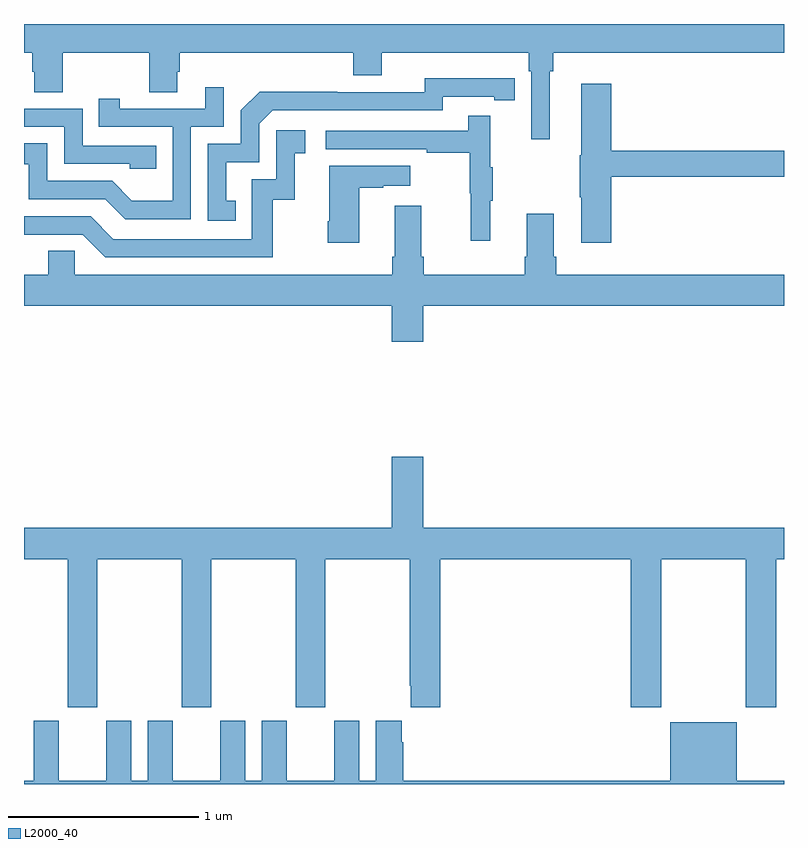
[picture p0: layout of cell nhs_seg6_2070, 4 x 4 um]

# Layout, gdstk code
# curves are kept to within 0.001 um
import gdstk
lib = gdstk.Library(unit=1e-6, precision=1e-09)
def P(c, l, *ps):  # polygons
    for p in ps: c.add(gdstk.Polygon(p, *l))
L2000_40 = (2000, 40)

nhs_seg6_2070 = lib.new_cell('nhs_seg6_2070')
P(nhs_seg6_2070, L2000_40, [(237.766,935.252),(237.785,935.252),(237.785,935.348),(239,935.348),(239,935.5),(235,935.5),(235,935.348),(235.043,935.348),(235.043,935.25),(235.055,935.25),(235.055,935.14),(235.203,935.14),(235.203,935.348),(235.66,935.348),(235.66,935.14),(235.807,935.14),(235.807,935.25),(235.82,935.25),(235.82,935.348),(236.732,935.348),(236.732,935.231),(236.884,935.231),(236.884,935.348),(237.656,935.348),(237.656,935.252),(237.669,935.252),(237.669,934.893),(237.766,934.893)],
  [(236.114,934.569),(236.065,934.569),(236.065,934.773),(236.238,934.773),(236.238,934.974),(236.31,935.046),(237.204,935.046),(237.204,935.118),(237.476,935.118),(237.476,935.098),(237.584,935.098),(237.584,935.214),(237.108,935.215),(237.108,935.142),(236.648,935.142),(236.648,935.144),(236.24,935.144),(236.142,935.046),(236.142,934.869),(235.968,934.869),(235.968,934.464),(236.114,934.464)],
  [(238.091,934.696),(239,934.696),(239,934.832),(238.091,934.832),(238.091,935.185),(237.932,935.185),(237.932,934.809),(237.925,934.809),(237.925,934.588),(237.932,934.588),(237.932,934.35),(238.091,934.35)],
  [(235.878,934.959),(236.052,934.959),(236.052,935.167),(235.955,935.167),(235.955,935.055),(235.504,935.055),(235.504,935.107),(235.393,935.107),(235.393,934.959),(235.782,934.959),(235.782,934.57),(235.568,934.57),(235.464,934.674),(235.122,934.674),(235.122,934.873),(235,934.873),(235,934.763),(235.024,934.763),(235.024,934.578),(235.427,934.578),(235.532,934.473),(235.878,934.473)],
  [(235.697,934.86),(235.308,934.86),(235.308,935.055),(235,935.055),(235,934.959),(235.212,934.959),(235.212,934.764),(235.557,934.764),(235.557,934.737),(235.697,934.737)],
  [(237.455,934.571),(237.466,934.571),(237.466,934.745),(237.455,934.745),(237.455,935.017),(237.337,935.017),(237.337,934.938),(236.589,934.938),(236.589,934.842),(237.121,934.842),(237.121,934.822),(237.345,934.822),(237.345,934.608),(237.352,934.608),(237.352,934.359),(237.455,934.359)],
  [(236.308,934.575),(236.426,934.575),(236.426,934.821),(236.479,934.821),(236.479,934.942),(236.328,934.942),(236.328,934.683),(236.199,934.683),(236.199,934.368),(235.47,934.368),(235.35,934.488),(235,934.488),(235,934.392),(235.308,934.392),(235.428,934.272),(236.308,934.272)],
  [(236.764,934.639),(236.891,934.639),(236.891,934.649),(237.034,934.649),(237.034,934.753),(236.606,934.753),(236.606,934.462),(236.599,934.462),(236.599,934.35),(236.764,934.35)],
  [(237.1,934.016),(239,934.016),(239,934.18),(237.8,934.18),(237.8,934.276),(237.787,934.276),(237.787,934.501),(237.647,934.501),(237.647,934.276),(237.635,934.276),(237.635,934.18),(237.104,934.18),(237.104,934.276),(237.091,934.276),(237.091,934.543),(236.951,934.543),(236.951,934.276),(236.939,934.276),(236.939,934.18),(235.266,934.18),(235.266,934.307),(235.127,934.307),(235.127,934.18),(235,934.18),(235,934.016),(236.936,934.016),(236.936,933.828),(237.1,933.828)],
  [(235.386,932.684),(235.831,932.684),(235.831,931.905),(235.986,931.905),(235.986,932.684),(236.431,932.684),(236.431,931.905),(236.586,931.905),(236.586,932.684),(237.031,932.684),(237.031,932.017),(237.035,932.017),(237.035,931.905),(237.191,931.905),(237.191,932.684),(238.193,932.684),(238.193,931.905),(238.353,931.905),(238.353,932.684),(238.798,932.684),(238.798,931.905),(238.958,931.905),(238.958,932.684),(239,932.684),(239,932.848),(237.1,932.848),(237.1,933.223),(236.936,933.223),(236.936,932.848),(235,932.848),(235,932.684),(235.231,932.684),(235.231,931.905),(235.386,931.905)],
  [(239,931.516),(238.75,931.516),(238.75,931.825),(238.4,931.825),(238.4,931.516),(236.996,931.516),(236.996,931.721),(236.989,931.721),(236.989,931.834),(236.852,931.834),(236.852,931.516),(236.764,931.516),(236.764,931.834),(236.633,931.834),(236.633,931.516),(236.383,931.516),(236.383,931.834),(236.252,931.834),(236.252,931.516),(236.164,931.516),(236.164,931.834),(236.033,931.834),(236.033,931.516),(235.783,931.516),(235.783,931.834),(235.652,931.834),(235.652,931.516),(235.564,931.516),(235.564,931.834),(235.433,931.834),(235.433,931.516),(235.183,931.516),(235.183,931.834),(235.052,931.834),(235.052,931.516),(235,931.516),(235,931.5),(239,931.5)])

lib.write_gds('nhs_seg6_2070.gds')
